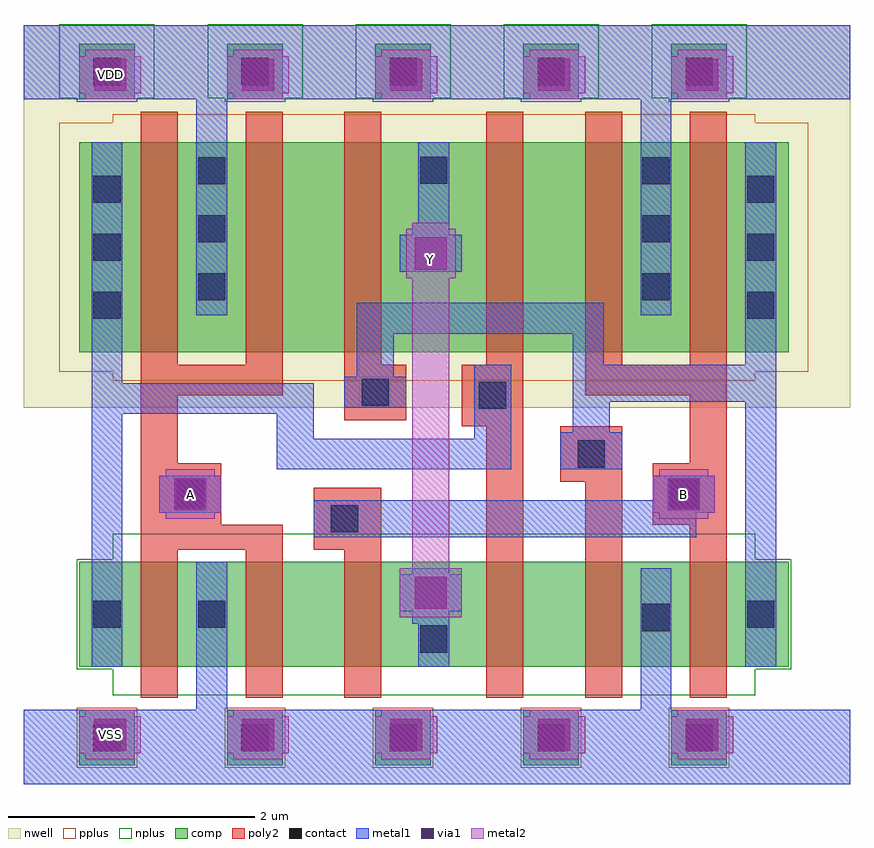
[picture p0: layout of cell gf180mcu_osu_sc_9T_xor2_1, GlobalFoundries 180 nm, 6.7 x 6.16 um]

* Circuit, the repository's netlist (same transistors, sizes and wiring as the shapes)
* Copyright 2022 Google LLC
*
* Licensed under the Apache License, Version 2.0 (the "License");
* you may not use this file except in compliance with the License.
* You may obtain a copy of the License at
*
*      http://www.apache.org/licenses/LICENSE-2.0
*
* Unless required by applicable law or agreed to in writing, software
* distributed under the License is distributed on an "AS IS" BASIS,
* WITHOUT WARRANTIES OR CONDITIONS OF ANY KIND, either express or implied.
* See the License for the specific language governing permissions and
* limitations under the License.

.option scale=0.05u

.subckt gf180mcu_osu_sc_9T_xor2_1 A Y B
X0 a_42_70 A VDD VDD pmos_3p3 w=34 l=6
X1 VSS a_52_59 a_81_19 VSS nmos_3p3 w=17 l=6
X2 VDD B a_81_70 VDD pmos_3p3 w=34 l=6
X3 Y B a_42_19 VSS nmos_3p3 w=17 l=6
X4 VSS A a_9_19 VSS nmos_3p3 w=17 l=6
X5 Y a_52_59 a_42_70 VDD pmos_3p3 w=34 l=6
X6 VDD A a_9_19 VDD pmos_3p3 w=34 l=6
X7 a_81_19 a_9_19 Y VSS nmos_3p3 w=17 l=6
X8 a_52_59 B VSS VSS nmos_3p3 w=17 l=6
X9 a_81_70 a_9_19 Y VDD pmos_3p3 w=34 l=6
X10 a_52_59 B VDD VDD pmos_3p3 w=34 l=6
X11 a_42_19 A VSS VSS nmos_3p3 w=17 l=6
.ends

** hspice subcircuit dictionary

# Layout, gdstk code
import gdstk
lib = gdstk.Library(unit=1e-6, precision=1e-09)
def R(c, l, rs):  # rectangles x0, y0, x1, y1
    for r in rs: c.add(gdstk.rectangle(r[:2], r[2:], *l))
def A(c, l, x, y, w, h, nx, ny, dx, dy):  # array of equal rectangles
    R(c, l, [(x+i*dx, y+j*dy, x+i*dx+w, y+j*dy+h) for i in range(nx) for j in range(ny)])
nwell = (21, 0)
comp = (22, 0)
poly2 = (30, 0)
pplus = (31, 0)
nplus = (32, 0)
contact = (33, 0)
metal1 = (34, 0)
via1 = (35, 0)
metal2 = (36, 0)

gf180mcu_osu_sc_9t_xor2_ = lib.new_cell('gf180mcu_osu_sc_9T_xor2_1')
R(gf180mcu_osu_sc_9t_xor2_, nwell, [(0,3.05,6.7,6.15)])
A(gf180mcu_osu_sc_9t_xor2_, comp, 0.45, 0.15, 0.45, 0.45, 5, 2, 1.2, 5.4)
R(gf180mcu_osu_sc_9t_xor2_, comp, [(0.45,0.95,6.2,1.8), (0.45,3.5,6.2,5.2)])
R(gf180mcu_osu_sc_9t_xor2_, poly2, [(0.95,0.7,1.25,1.9), (1.8,0.7,2.1,1.9), (2.6,0.7,2.9,1.9), (3.75,0.7,4.05,2.9), (4.55,0.7,4.85,2.45), (5.4,0.7,5.7,2.1), (0.95,1.9,2.1,2.1), (2.35,1.9,2.9,2.4), (0.95,2.1,1.6,2.6), (5.1,2.1,5.7,2.6), (4.35,2.45,4.85,2.9), (0.95,2.6,1.25,3.15), (5.4,2.6,5.7,3.15), (3.55,2.9,4.05,3.4), (2.6,2.95,3.1,3.4), (0.95,3.15,2.1,3.4), (4.55,3.15,5.7,3.4), (0.95,3.4,1.25,5.45), (1.8,3.4,2.1,5.45), (2.6,3.4,2.9,5.45), (3.75,3.4,4.05,5.45), (4.55,3.4,4.85,5.45), (5.4,3.4,5.7,5.45)])
A(gf180mcu_osu_sc_9t_xor2_, pplus, 0.43, 0.13, 0.49, 0.49, 5, 1, 1.2, 0)
R(gf180mcu_osu_sc_9t_xor2_, pplus, [(0.72,3.27,5.93,3.34), (0.29,3.34,6.36,5.36), (0.72,5.36,5.93,5.43)])
A(gf180mcu_osu_sc_9t_xor2_, nplus, 0.43, 5.53, 0.49, 0.03, 5, 1, 1.2, 0)
A(gf180mcu_osu_sc_9t_xor2_, nplus, 0.29, 5.56, 0.77, 0.6, 5, 1, 1.2, 0)
R(gf180mcu_osu_sc_9t_xor2_, nplus, [(0.72,0.72,5.93,0.93), (0.43,0.93,6.22,1.82), (0.72,1.82,5.93,2.03)])
A(gf180mcu_osu_sc_9t_xor2_, contact, 0.565, 0.265, 0.22, 0.22, 5, 2, 1.2, 5.4)
A(gf180mcu_osu_sc_9t_xor2_, contact, 0.565, 3.77, 0.22, 0.22, 1, 3, 0, 0.47)
A(gf180mcu_osu_sc_9t_xor2_, contact, 5.865, 3.77, 0.22, 0.22, 1, 3, 0, 0.47)
A(gf180mcu_osu_sc_9t_xor2_, contact, 1.415, 3.92, 0.22, 0.22, 1, 3, 0, 0.47)
A(gf180mcu_osu_sc_9t_xor2_, contact, 5.015, 3.92, 0.22, 0.22, 1, 3, 0, 0.47)
R(gf180mcu_osu_sc_9t_xor2_, contact, [(3.215,1.065,3.435,1.285), (5.015,1.24,5.235,1.46), (0.565,1.265,0.785,1.485), (1.415,1.265,1.635,1.485), (5.865,1.265,6.085,1.485), (2.49,2.04,2.71,2.26), (1.24,2.24,1.46,2.46), (5.24,2.24,5.46,2.46), (4.49,2.565,4.71,2.785), (3.69,3.04,3.91,3.26), (2.74,3.065,2.96,3.285), (3.215,4.865,3.435,5.085)])
R(gf180mcu_osu_sc_9t_xor2_, metal1, [(0,0,6.7,0.6), (1.4,0.6,1.65,1.8), (5,0.6,5.25,1.75), (0.55,0.95,0.8,3), (3.2,0.95,3.45,1.3), (5.85,0.95,6.1,3.1), (3.15,1.3,3.45,1.4), (3.05,1.4,3.55,1.7), (3.15,1.7,3.45,1.75), (2.35,2,5.45,2.2), (1.1,2.2,1.6,2.5), (2.35,2.2,5.6,2.3), (5.1,2.3,5.6,2.5), (2.05,2.55,3.95,2.8), (4.35,2.55,4.85,2.85), (2.05,2.8,2.35,3), (3.65,2.8,3.95,3.4), (4.45,2.85,4.75,3.1), (0.55,3,2.35,3.25), (2.6,3.05,3.1,3.3), (4.45,3.1,6.1,3.4), (0.55,3.25,0.8,5.2), (2.7,3.3,3,3.65), (4.45,3.4,4.7,3.65), (5.85,3.4,6.1,5.2), (2.7,3.65,4.7,3.9), (1.4,3.8,1.65,5.55), (5,3.8,5.25,5.55), (3.05,4.15,3.55,4.45), (3.15,4.45,3.45,4.55), (3.2,4.55,3.45,5.2), (0,5.55,6.7,6.15)])
A(gf180mcu_osu_sc_9t_xor2_, via1, 0.57, 0.27, 0.26, 0.26, 5, 2, 1.2, 5.35)
R(gf180mcu_osu_sc_9t_xor2_, via1, [(3.17,1.42,3.43,1.68), (1.22,2.22,1.48,2.48), (5.22,2.22,5.48,2.48), (3.17,4.17,3.43,4.43)])
A(gf180mcu_osu_sc_9t_xor2_, metal2, 0.5, 0.2, 0.4, 0.05, 5, 2, 1.2, 0.35)
A(gf180mcu_osu_sc_9t_xor2_, metal2, 0.45, 0.25, 0.5, 0.3, 5, 2, 1.2, 5.35)
A(gf180mcu_osu_sc_9t_xor2_, metal2, 0.5, 5.55, 0.4, 0.05, 5, 2, 1.2, 0.35)
R(gf180mcu_osu_sc_9t_xor2_, metal2, [(3.05,1.35,3.55,1.75), (3.15,1.75,3.45,4.1), (1.15,2.15,1.55,2.2), (5.15,2.15,5.55,2.2), (1.1,2.2,1.6,2.5), (5.1,2.2,5.6,2.5), (1.15,2.5,1.55,2.55), (5.15,2.5,5.55,2.55), (3.1,4.1,3.5,4.5), (3.15,4.5,3.45,4.55)])
gf180mcu_osu_sc_9t_xor2_.add(gdstk.Label('VDD', (0.7,5.75), layer=36, texttype=0))
gf180mcu_osu_sc_9t_xor2_.add(gdstk.Label('VSS', (0.7,0.4), layer=36, texttype=0))
gf180mcu_osu_sc_9t_xor2_.add(gdstk.Label('A', (1.35,2.35), layer=36, texttype=10))
gf180mcu_osu_sc_9t_xor2_.add(gdstk.Label('Y', (3.3,4.25), layer=36, texttype=10))
gf180mcu_osu_sc_9t_xor2_.add(gdstk.Label('B', (5.35,2.35), layer=36, texttype=10))

lib.write_gds('gf180mcu_osu_sc_9T_xor2_1.gds')
